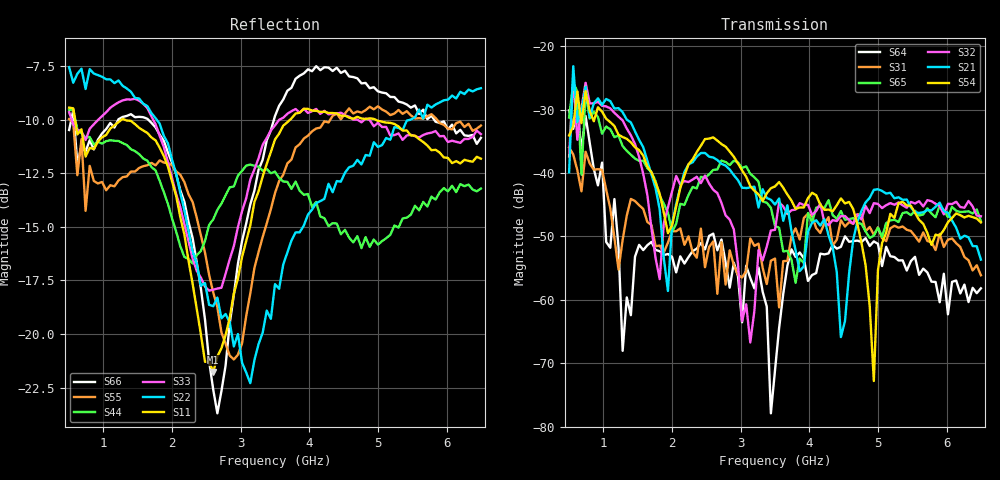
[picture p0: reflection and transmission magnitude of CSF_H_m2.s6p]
!Keysight Technologies,M9804A,MY58100912,A.14.10.03
!Date: Thursday, April 27, 2023 10:28:33
!Correction: S11(C  6-Port  )
!S12(C  6-Port  )
!S13(C  6-Port  )
!S14(C  6-Port  )
!S15(C  6-Port  )
!S16(C  6-Port  )
!S21(C  6-Port  )
!S22(C  6-Port  )
!S23(C  6-Port  )
!S24(C  6-Port  )
!S25(C  6-Port  )
!S26(C  6-Port  )
!S31(C  6-Port  )
!S32(C  6-Port  )
!S33(C  6-Port  )
!S34(C  6-Port  )
!S35(C  6-Port  )
!S36(C  6-Port  )
!S41(C  6-Port  )
!S42(C  6-Port  )
!S43(C  6-Port  )
!S44(C  6-Port  )
!S45(C  6-Port  )
!S46(C  6-Port  )
!S51(C  6-Port  )
!S52(C  6-Port  )
!S53(C  6-Port  )
!S54(C  6-Port  )
!S55(C  6-Port  )
!S56(C  6-Port  )
!S61(C  6-Port  )
!S62(C  6-Port  )
!S63(C  6-Port  )
!S64(C  6-Port  )
!S65(C  6-Port  )
!S66(C  6-Port  )
!S6P File: Measurement: :
# Hz S  RI  R 50
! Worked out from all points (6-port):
!   101 points, 500 MHz to 6.5 GHz, reference 50 ohm
!   strongest paths, dB at 500 MHz, 2 GHz, 3.5 GHz, 5 GHz, 6.5 GHz:
!     S54: -34.1, -48.3, -42.1, -55.3, -47.8
!     S21: -39.9, -48.0, -45.0, -42.6, -53.7
!     S32: -37.4, -42.9, -49.0, -44.9, -46.8
!     S65: -31.3, -49.3, -48.3, -48.6, -47.6
!     S31: -36.0, -49.2, -53.5, -48.6, -56.1
!     S64: -30.1, -53.2, -71.1, -51.2, -58.2
!   lowest |S11| = -21.8 dB at 2.6 GHz (marker M1), VSWR 1.18, Z = 42.7 + j1.9 ohm
!   |S11| at or under -10 dB: 586.3 MHz to 1.262 GHz (675.8 MHz wide, 73.1 % of centre); 1.314 GHz to 3.719 GHz (2.404 GHz wide, 95.6 % of centre); 4.967 GHz to end of sweep
